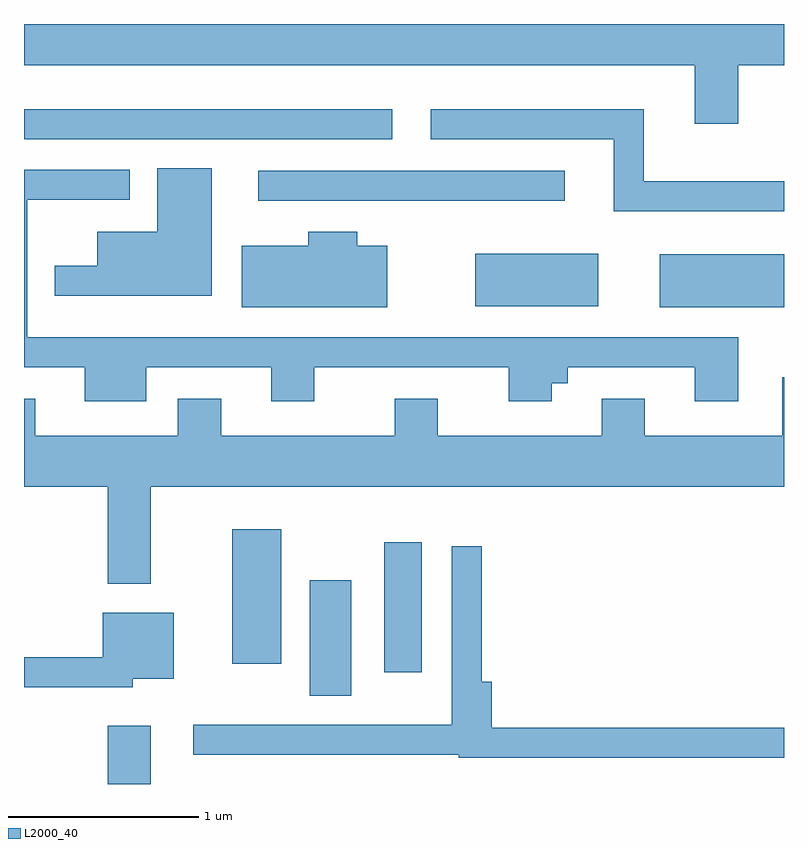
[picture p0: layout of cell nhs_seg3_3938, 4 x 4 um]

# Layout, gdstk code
import gdstk
lib = gdstk.Library(unit=1e-6, precision=1e-09)
def R(c, l, rs):  # rectangles x0, y0, x1, y1
    for r in rs: c.add(gdstk.rectangle(r[:2], r[2:], *l))
def P(c, l, *ps):  # polygons
    for p in ps: c.add(gdstk.Polygon(p, *l))
L2000_40 = (2000, 40)

nhs_seg3_3938 = lib.new_cell('nhs_seg3_3938')
R(nhs_seg3_3938, L2000_40, [(300.051,1239.892,300.279,1240.199), (301.116,1240.356,301.334,1240.964), (301.506,1240.481,301.704,1241.164), (300.706,1240.526,300.964,1241.234), (302.956,1242.401,303.611,1242.679), (301.986,1242.406,302.634,1242.684), (300.843,1242.961,302.458,1243.119), (299.611,1243.286,301.548,1243.444)])
P(nhs_seg3_3938, L2000_40, [(303.369,1243.676),(303.611,1243.676),(303.611,1243.892),(299.611,1243.892),(299.611,1243.676),(303.141,1243.676),(303.141,1243.366),(303.369,1243.366)],
  [(303.611,1243.064),(302.874,1243.064),(302.874,1243.444),(301.753,1243.444),(301.753,1243.286),(302.716,1243.286),(302.716,1242.906),(303.611,1242.906)],
  [(300.599,1243.134),(300.311,1243.134),(300.311,1242.799),(299.996,1242.799),(299.996,1242.619),(299.773,1242.619),(299.773,1242.461),(300.599,1242.461)],
  [(300.254,1242.086),(300.911,1242.086),(300.911,1241.906),(301.139,1241.906),(301.139,1242.086),(302.161,1242.086),(302.161,1241.906),(302.389,1241.906),(302.389,1242.001),(302.474,1242.001),(302.474,1242.086),(303.141,1242.086),(303.141,1241.906),(303.369,1241.906),(303.369,1242.244),(299.629,1242.244),(299.629,1242.966),(300.168,1242.966),(300.168,1243.124),(299.611,1243.124),(299.611,1242.086),(299.931,1242.086),(299.931,1241.906),(300.254,1241.906)],
  [(301.524,1242.724),(301.364,1242.724),(301.364,1242.799),(301.106,1242.799),(301.106,1242.724),(300.756,1242.724),(300.756,1242.401),(301.524,1242.401)],
  [(300.279,1241.456),(303.611,1241.456),(303.611,1242.034),(303.601,1242.034),(303.601,1241.724),(302.879,1241.724),(302.879,1241.919),(302.651,1241.919),(302.651,1241.724),(301.789,1241.724),(301.789,1241.919),(301.561,1241.919),(301.561,1241.724),(300.649,1241.724),(300.649,1241.919),(300.421,1241.919),(300.421,1241.724),(299.669,1241.724),(299.669,1241.919),(299.611,1241.919),(299.611,1241.456),(300.051,1241.456),(300.051,1240.946),(300.279,1240.946)],
  [(303.611,1240.189),(302.074,1240.189),(302.074,1240.429),(302.019,1240.429),(302.019,1241.143),(301.861,1241.143),(301.861,1240.204),(300.503,1240.204),(300.503,1240.046),(301.9,1240.046),(301.9,1240.031),(303.611,1240.031)],
  [(300.184,1240.446),(300.399,1240.446),(300.399,1240.794),(300.026,1240.794),(300.026,1240.559),(299.611,1240.559),(299.611,1240.401),(300.184,1240.401)])

lib.write_gds('nhs_seg3_3938.gds')
